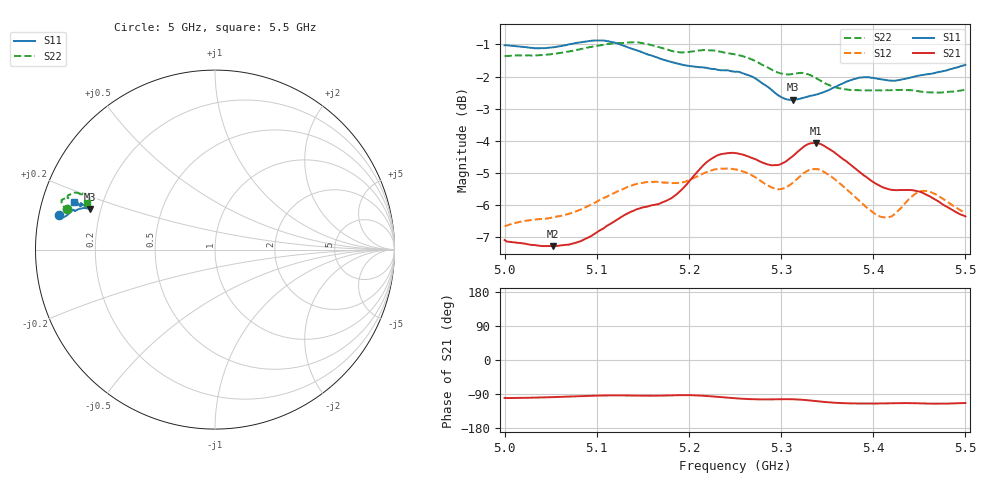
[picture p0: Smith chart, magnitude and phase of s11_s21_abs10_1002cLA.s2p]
! MS46122B
! 1919307/90821646
! 6/10/2022 12:09:12 PM
! C:\USERS\PC_\DESKTOP\CARACTERIZACION\MEDICIONES\BANCHA ESTRECHA\5_55GHZ\S11_S21_ABS10_1002CL.S2P
! CHANNEL.1
! TR.MEASUREMENT
! CORRECTED.DATA
# GHZ S RI R 50.0
! FREQ.GHZ  S11RE  S11IM  S21RE  S21IM  S12RE  S12IM  S22RE  S22IM
!; PortSelection: Port_12
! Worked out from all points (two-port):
!   201 points, 5 GHz to 5.5 GHz, reference 50 ohm
!   highest |S21| = -4.07 dB at 5.338 GHz (marker M1); lowest = -7.3 dB at 5.053 GHz (marker M2)
!   |S21| within 3 dB of the highest: 5.087 GHz to end of sweep
!   lowest |S11| = -2.7 dB at 5.312 GHz (marker M3), VSWR 6.43, Z = 7.97 + j7.75 ohm
!   |S11| at or under -10 dB: nowhere
!   |S22| runs from -2.5 to -0.9 dB; largest |S21 - S12| = 0.08
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5  -0.8675 0.1916  -0.0778 -0.4352  -0.0354 -0.4633  -0.8241 0.2252
5.0525  -0.8599 0.1959  -0.0595 -0.4283  -0.0401 -0.4776  -0.832 0.223
5.085  -0.8781 0.1943  -0.0383 -0.4403  -0.0367 -0.4933  -0.844 0.242
5.1175  -0.8795 0.1836  -0.028 -0.4702  -0.0458 -0.5199  -0.8551 0.2626
5.1425  -0.8553 0.1762  -0.0346 -0.4918  -0.0668 -0.5358  -0.8544 0.2764
5.1675  -0.8266 0.1897  -0.0359 -0.5018  -0.0853 -0.5374  -0.8353 0.2845
5.2075  -0.7922 0.2206  -0.032 -0.5601  -0.0941 -0.5457  -0.8214 0.2887
5.23  -0.7847 0.2189  -0.0732 -0.5934  -0.1181 -0.5575  -0.8164 0.3044
5.25  -0.7788 0.2154  -0.1148 -0.5927  -0.1442 -0.5508  -0.8019 0.3108
5.2725  -0.7549 0.2273  -0.1404 -0.5734  -0.162 -0.5289  -0.7771 0.3176
5.29  -0.7203 0.2309  -0.1393 -0.5607  -0.153 -0.5112  -0.7525 0.3099
5.3125  -0.6948 0.2264  -0.1405 -0.5799  -0.1375 -0.5248  -0.7436 0.2991
5.335  -0.7036 0.2375  -0.1907 -0.5959  -0.1704 -0.5437  -0.7296 0.3133
5.3375  -0.7047 0.2385  -0.1982 -0.5938  -0.1754 -0.5424  -0.7261 0.3128
5.355  -0.7206 0.2442  -0.2311 -0.5636  -0.1997 -0.5171  -0.7071 0.2978
5.375  -0.7417 0.2528  -0.2401 -0.5277  -0.2006 -0.4843  -0.7022 0.2836
5.4  -0.7474 0.2575  -0.2288 -0.4937  -0.174 -0.4555  -0.7017 0.2821
5.4175  -0.7421 0.2495  -0.2168 -0.4837  -0.1445 -0.4579  -0.7002 0.2854
5.4325  -0.7481 0.2425  -0.2117 -0.4846  -0.1324 -0.4826  -0.6995 0.2893
5.45  -0.7574 0.2492  -0.2175 -0.4788  -0.1503 -0.5038  -0.6957 0.289
5.4725  -0.7651 0.2591  -0.2153 -0.4574  -0.1746 -0.4854  -0.6977 0.2743
5.5  -0.7854 0.2628  -0.1915 -0.4413  -0.1573 -0.4611  -0.7117 0.2619
